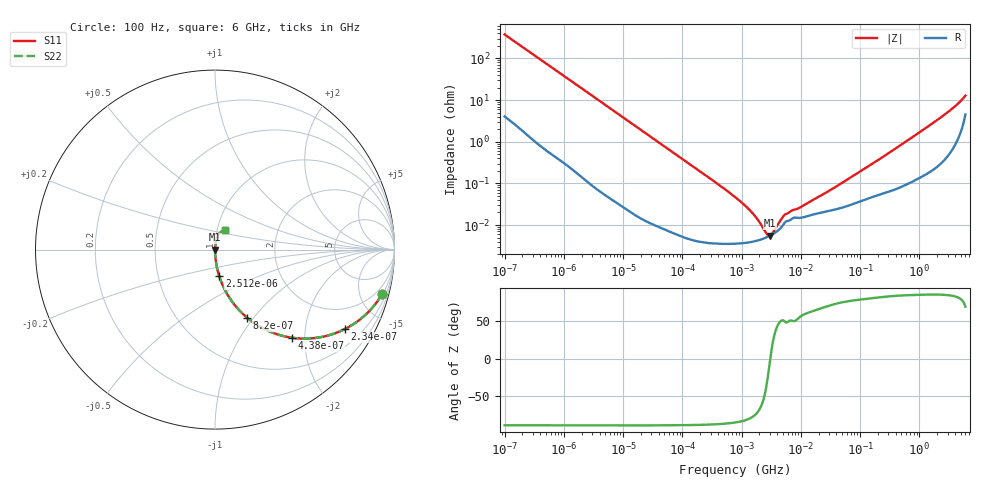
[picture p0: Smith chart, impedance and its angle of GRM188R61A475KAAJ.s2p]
!Murata Part Number: GRM188R61A475KAAJ
!These Parameters are Measured in Series Mode Connection
!Data Generated on Mar 30, 2021
!  o--ll--o
!Port1  Port2
!  o------o
!Operation Temp=25[degC], DC Bias Voltage=0[V]
!Freq. Start=100[Hz] Stop=6[GHz] 401[Steps]
# Hz S RI R 50
!Freq.(Hz) S11(Real) S11(Imag) S21(Real) S21(Imag) S12(Real) S12(Imag) S22(Real) S22(Imag)
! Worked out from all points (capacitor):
!   401 points, 100 Hz to 6 GHz, reference 50 ohm
!   read as one part in series: C = 4.21 uF near 109 Hz
!   lowest |Z| = 5.53 mohm at 2.968 MHz (marker M1)
!   series resonance near 3.056 MHz, so ESL is about 640 pH
!   S11 on the Smith chart (normalised r, x): 100 Hz: 1.08, -7.54; 234 Hz: 1.03, -3.24; 438 Hz: 1.01, -1.73; 820 Hz: 1.01, -0.93; 2.512 kHz: 1.00, -0.31; 6 GHz: 1.09, +0.24
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100  0.9319 -0.2466  0.0681 0.2466  0.0681 0.2466  0.9319 -0.2466
150  0.8619 -0.3399  0.1381 0.3399  0.1381 0.3399  0.8619 -0.3399
234  0.7219 -0.4434  0.2781 0.4434  0.2781 0.4434  0.7219 -0.4434
320  0.5834 -0.4887  0.4166 0.4887  0.4166 0.4887  0.5834 -0.4887
438  0.43 -0.491  0.57 0.491  0.57 0.491  0.43 -0.491
820  0.1797 -0.3799  0.8203 0.3799  0.8203 0.3799  0.1797 -0.3799
1227  0.0902 -0.2826  0.9098 0.2826  0.9098 0.2826  0.0902 -0.2826
2008  0.0364 -0.1836  0.9636 0.1836  0.9636 0.1836  0.0364 -0.1836
2512  0.0238 -0.1488  0.9762 0.1488  0.9762 0.1488  0.0238 -0.1488
7695  0.00284 -0.0499  0.9972 0.0499  0.9972 0.0499  0.00284 -0.0499
40335  0.000181 -0.0096  0.9998 0.0096  0.9998 0.0096  0.000181 -0.0096
774597  3.58e-05 -0.00047  1 0.00047  1 0.00047  3.58e-05 -0.00047
1325623  3.83e-05 -0.000237  1 0.000237  1 0.000237  3.83e-05 -0.000237
2169299  4.54e-05 -8.75e-05  1 8.75e-05  1 8.75e-05  4.54e-05 -8.75e-05
2967816  5.48e-05 -7.2e-06  0.9999 7.2e-06  0.9999 7.2e-06  5.48e-05 -7.2e-06
3882480  6.91e-05 5.93e-05  0.9999 -5.93e-05  0.9999 -5.93e-05  6.91e-05 5.93e-05
5554849  0.000121 0.000137  0.9999 -0.000137  0.9999 -0.000137  0.000121 0.000137
1.555665e7  0.000176 0.00035  0.9998 -0.00035  0.9998 -0.00035  0.000176 0.00035
4.165952e7  0.000244 0.000845  0.9998 -0.000845  0.9998 -0.000845  0.000244 0.000845
3.124326e8  0.000664 0.00543  0.9993 -0.00543  0.9993 -0.00543  0.000664 0.00543
2.34314e9  0.00453 0.0387  0.9955 -0.0387  0.9955 -0.0387  0.00453 0.0387
6e9  0.0556 0.1083  0.9444 -0.1083  0.9444 -0.1083  0.0556 0.1083
